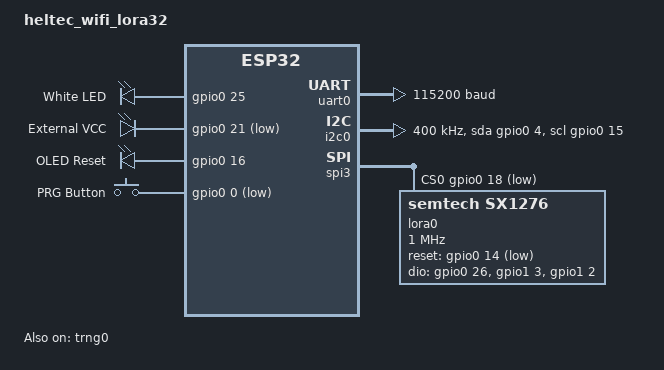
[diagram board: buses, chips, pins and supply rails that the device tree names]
/*
 * Copyright (c) 2021 Instituto de Pesquisas Eldorado (eldorado.org.br)
 *
 * SPDX-License-Identifier: Apache-2.0
 */
/dts-v1/;

#include <espressif/esp32/esp32_d0wd_v3.dtsi>
#include "heltec_wifi_lora32_v2-pinctrl.dtsi"
#include <zephyr/dt-bindings/input/input-event-codes.h>

/ {
	model = "heltec_wifi_lora32";
	compatible = "espressif,esp32";

	aliases {
		uart-0 = &uart0;
		i2c-0 = &i2c0;
		led0 = &led0;
		sw0 = &button0;
		watchdog0 = &wdt0;
		lora0 = &lora0;
	};

	leds {
		compatible = "gpio-leds";
		led0: led {
			gpios = <&gpio0 25 GPIO_ACTIVE_HIGH>;
			label = "White LED";
		};

		vext: vext {
			gpios = <&gpio0 21 (GPIO_PULL_UP | GPIO_ACTIVE_LOW)>;
			label = "External VCC";
		};

		oledrst: oledrst {
			gpios = <&gpio0 16 (GPIO_PULL_UP | GPIO_ACTIVE_HIGH)>;
			label = "OLED Reset";
		};
	};

	buttons {
		compatible = "gpio-keys";
		button0: button_0 {
			gpios = <&gpio0 0 (GPIO_PULL_UP | GPIO_ACTIVE_LOW)>;
			label = "PRG Button";
			zephyr,code = <INPUT_KEY_0>;
		};
	};

	chosen {
		zephyr,sram = &sram0;
		zephyr,console = &uart0;
		zephyr,shell-uart = &uart0;
		zephyr,flash = &flash0;
	};
};

&cpu0 {
	clock-frequency = <ESP32_CLK_CPU_240M>;
};

&cpu1 {
	clock-frequency = <ESP32_CLK_CPU_240M>;
};

&uart0 {
	status = "okay";
	current-speed = <115200>;
	pinctrl-0 = <&uart0_default>;
	pinctrl-names = "default";
};

&gpio0 {
	status = "okay";
};

&trng0 {
	status = "okay";
};

&i2c0 {
	status = "okay";
	clock-frequency = <I2C_BITRATE_FAST>;
	sda-gpios = <&gpio0 4 GPIO_OPEN_DRAIN>;
	scl-gpios = <&gpio0 15 GPIO_OPEN_DRAIN>;
	pinctrl-0 = <&i2c0_default>;
	pinctrl-names = "default";
};

&spi3 {
	#address-cells = <1>;
	#size-cells = <0>;
	status = "okay";
	pinctrl-0 = <&spim3_default>;
	pinctrl-names = "default";
	cs-gpios = <&gpio0 18 GPIO_ACTIVE_LOW>;
	lora0: lora@0 {
		compatible = "semtech,sx1276";
		reg = <0>;
		reset-gpios = <&gpio0 14 GPIO_ACTIVE_LOW>;
		dio-gpios =
			/* SX1276 D0 -> GPIO26 */
			<&gpio0 26 (GPIO_PULL_DOWN | GPIO_ACTIVE_HIGH)>,
			/* SX1276 D1 -> GPIO35 */
			<&gpio1 3 (GPIO_PULL_DOWN | GPIO_ACTIVE_HIGH)>,
			/* SX1276 D1 -> GPIO34 */
			<&gpio1 2 (GPIO_PULL_DOWN | GPIO_ACTIVE_HIGH)>;
		spi-max-frequency = <1000000>;
		power-amplifier-output = "pa-boost";
	};
};

&flash0 {
	/* the board is using plain d0wd SoC part without the flash
	 * so any additional flash size should be defined at the board level
	 */
	reg = <0x0 DT_SIZE_M(8)>;

	status = "okay";
	partitions {
		compatible = "fixed-partitions";
		#address-cells = <1>;
		#size-cells = <1>;

		/* Reserve 60kB for the bootloader */
		boot_partition: partition@1000 {
			label = "mcuboot";
			reg = <0x00001000 0x0000F000>;
			read-only;
		};

		/* Reserve 1024kB for the application in slot 0 */
		slot0_partition: partition@10000 {
			label = "image-0";
			reg = <0x00010000 0x00100000>;
		};

		/* Reserve 1024kB for the application in slot 1 */
		slot1_partition: partition@110000 {
			label = "image-1";
			reg = <0x00110000 0x00100000>;
		};

		/* Reserve 256kB for the scratch partition */
		scratch_partition: partition@210000 {
			   label = "image-scratch";
			   reg = <0x00210000 0x00040000>;
		};

		storage_partition: partition@250000 {
			label = "storage";
			reg = <0x00250000 0x00006000>;
		};
	};
};

/* Required by the ssd1306_128x64 shield which enables the OLED display */
arduino_i2c: &i2c0 {};
